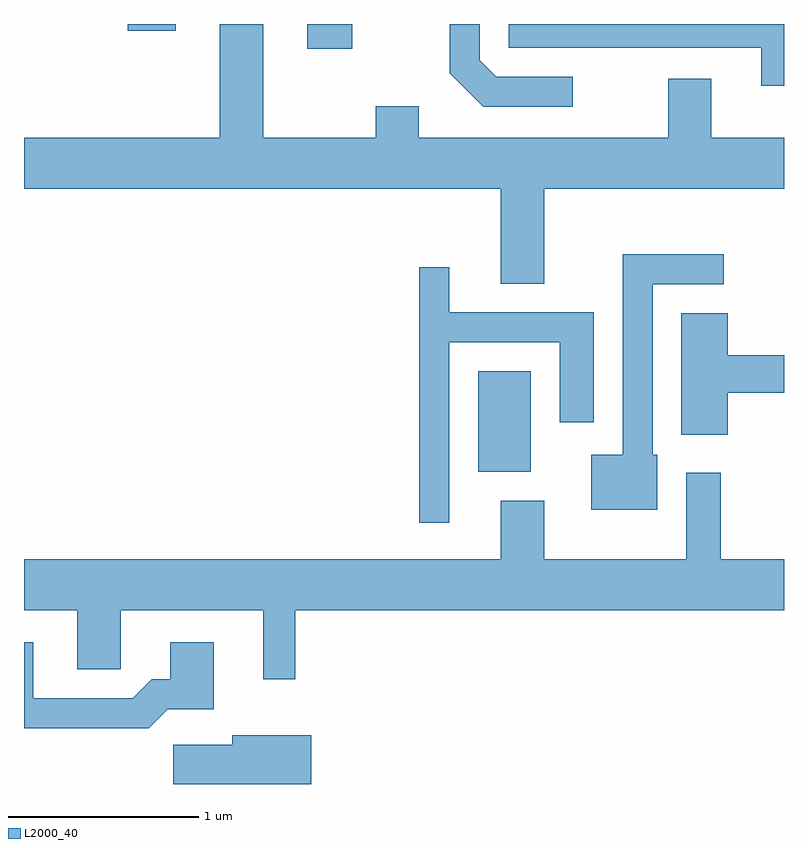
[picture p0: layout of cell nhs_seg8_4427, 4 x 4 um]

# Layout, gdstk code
import gdstk
lib = gdstk.Library(unit=1e-6, precision=1e-09)
def R(c, l, rs):  # rectangles x0, y0, x1, y1
    for r in rs: c.add(gdstk.rectangle(r[:2], r[2:], *l))
def P(c, l, *ps):  # polygons
    for p in ps: c.add(gdstk.Polygon(p, *l))
L2000_40 = (2000, 40)

nhs_seg8_4427 = lib.new_cell('nhs_seg8_4427')
R(nhs_seg8_4427, L2000_40, [(320.001,1885.986,320.279,1886.514), (319.101,1888.211,319.338,1888.342), (318.156,1888.306,318.409,1888.342)])
P(nhs_seg8_4427, L2000_40, [(320.349,1887.476),(321.611,1887.476),(321.611,1887.744),(321.229,1887.744),(321.229,1888.054),(321.001,1888.054),(321.001,1887.744),(319.689,1887.744),(319.689,1887.909),(319.461,1887.909),(319.461,1887.744),(318.869,1887.744),(318.869,1888.342),(318.641,1888.342),(318.641,1887.744),(317.611,1887.744),(317.611,1887.476),(320.121,1887.476),(320.121,1886.976),(320.349,1886.976)],
  [(320.498,1888.064),(320.097,1888.064),(320.009,1888.152),(320.009,1888.342),(319.851,1888.342),(319.851,1888.084),(320.029,1887.906),(320.498,1887.906)],
  [(321.611,1888.342),(320.161,1888.342),(320.161,1888.216),(321.491,1888.216),(321.491,1888.018),(321.611,1888.018)],
  [(320.944,1886.074),(320.919,1886.074),(320.919,1886.971),(321.293,1886.971),(321.293,1887.129),(320.761,1887.129),(320.761,1886.074),(320.596,1886.074),(320.596,1885.786),(320.944,1885.786)],
  [(319.849,1886.666),(320.431,1886.666),(320.431,1886.246),(320.609,1886.246),(320.609,1886.824),(319.849,1886.824),(319.849,1887.063),(319.691,1887.063),(319.691,1885.718),(319.849,1885.718)],
  [(321.314,1886.401),(321.611,1886.401),(321.611,1886.599),(321.314,1886.599),(321.314,1886.819),(321.071,1886.819),(321.071,1886.181),(321.314,1886.181)],
  [(319.039,1885.256),(321.611,1885.256),(321.611,1885.524),(321.279,1885.524),(321.279,1885.979),(321.096,1885.979),(321.096,1885.524),(320.349,1885.524),(320.349,1885.834),(320.121,1885.834),(320.121,1885.524),(317.611,1885.524),(317.611,1885.256),(317.891,1885.256),(317.891,1884.946),(318.119,1884.946),(318.119,1885.256),(318.871,1885.256),(318.871,1884.893),(319.039,1884.893)],
  [(318.367,1884.736),(318.609,1884.736),(318.609,1885.089),(318.381,1885.089),(318.381,1884.894),(318.284,1884.894),(318.184,1884.794),(317.659,1884.794),(317.659,1885.089),(317.611,1885.089),(317.611,1884.636),(318.267,1884.636)],
  [(319.124,1884.599),(318.706,1884.599),(318.706,1884.549),(318.396,1884.549),(318.396,1884.342),(319.124,1884.342)])

lib.write_gds('nhs_seg8_4427.gds')
